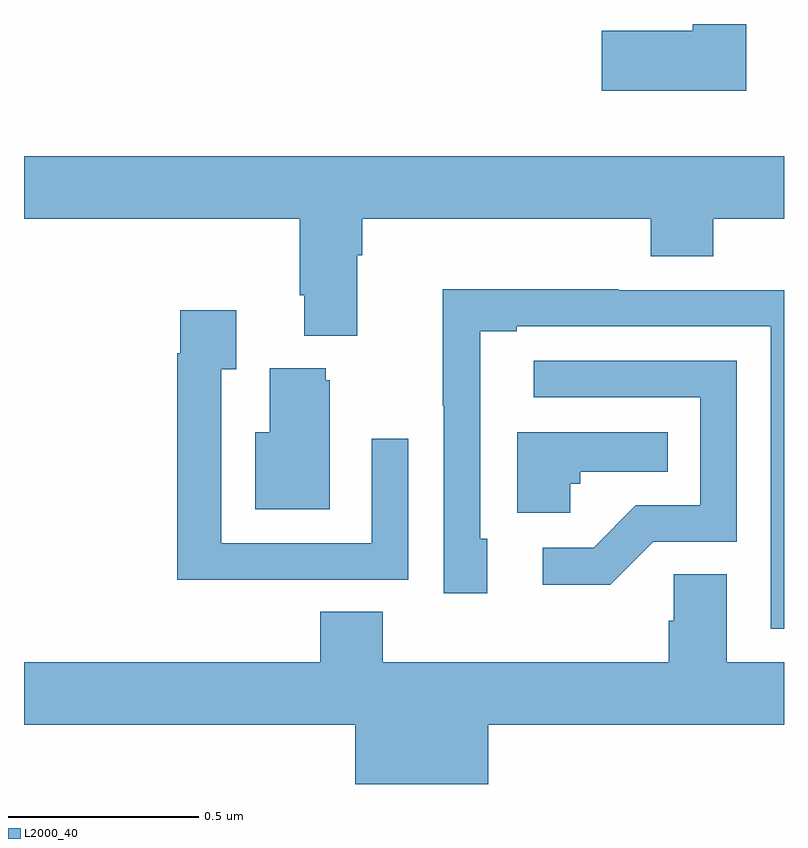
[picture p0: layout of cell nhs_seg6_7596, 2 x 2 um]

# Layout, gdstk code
import gdstk
lib = gdstk.Library(unit=1e-6, precision=1e-09)
def P(c, l, *ps):  # polygons
    for p in ps: c.add(gdstk.Polygon(p, *l))
L2000_40 = (2000, 40)

nhs_seg6_7596 = lib.new_cell('nhs_seg6_7596')
P(nhs_seg6_7596, L2000_40, [(211.9,962.5),(211.76,962.5),(211.76,962.482),(211.52,962.482),(211.52,962.324),(211.9,962.324)],
  [(210.877,961.892),(210.89,961.892),(210.89,961.988),(211.649,961.988),(211.649,961.889),(211.814,961.889),(211.814,961.988),(212,961.988),(212,962.152),(210,962.152),(210,961.988),(210.725,961.988),(210.725,961.786),(210.737,961.786),(210.737,961.679),(210.877,961.679)],
  [(212,961.8),(211.565,961.8),(211.565,961.802),(211.102,961.802),(211.102,961.495),(211.104,961.495),(211.104,961.002),(211.219,961.002),(211.219,961.146),(211.2,961.146),(211.2,961.692),(211.297,961.692),(211.297,961.704),(211.965,961.704),(211.965,960.909),(212,960.909)],
  [(210.695,961.038),(211.011,961.038),(211.011,961.408),(210.915,961.408),(210.915,961.134),(210.519,961.134),(210.519,961.591),(210.559,961.591),(210.559,961.747),(210.411,961.747),(210.411,961.634),(210.403,961.634),(210.403,961.037),(210.695,961.037)],
  [(211.656,961.137),(211.875,961.137),(211.875,961.614),(211.341,961.614),(211.341,961.518),(211.779,961.518),(211.779,961.233),(211.61,961.233),(211.499,961.122),(211.365,961.122),(211.365,961.025),(211.543,961.025)],
  [(210.805,961.563),(210.794,961.563),(210.794,961.594),(210.647,961.594),(210.647,961.426),(210.608,961.426),(210.608,961.223),(210.805,961.223)],
  [(211.437,961.29),(211.464,961.29),(211.464,961.322),(211.694,961.322),(211.694,961.426),(211.298,961.426),(211.298,961.214),(211.437,961.214)],
  [(211.222,960.656),(212,960.656),(212,960.82),(211.849,960.82),(211.849,961.052),(211.71,961.052),(211.71,960.929),(211.697,960.929),(211.697,960.82),(210.944,960.82),(210.944,960.953),(210.779,960.953),(210.779,960.82),(210,960.82),(210,960.656),(210.872,960.656),(210.872,960.5),(211.222,960.5)])

lib.write_gds('nhs_seg6_7596.gds')
